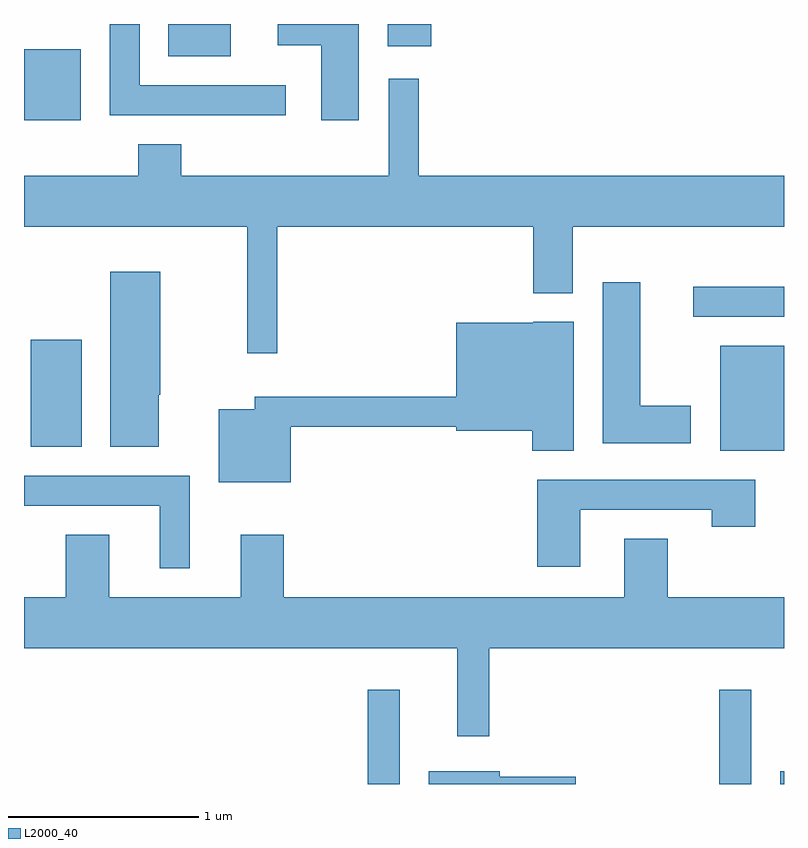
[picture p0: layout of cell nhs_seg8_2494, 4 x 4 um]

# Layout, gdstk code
import gdstk
lib = gdstk.Library(unit=1e-6, precision=1e-09)
def R(c, l, rs):  # rectangles x0, y0, x1, y1
    for r in rs: c.add(gdstk.rectangle(r[:2], r[2:], *l))
def P(c, l, *ps):  # polygons
    for p in ps: c.add(gdstk.Polygon(p, *l))
L2000_40 = (2000, 40)

nhs_seg8_2494 = lib.new_cell('nhs_seg8_2494')
R(nhs_seg8_2494, L2000_40, [(261.421,1862.342,261.589,1862.838), (263.271,1862.342,263.439,1862.838), (263.591,1862.342,263.611,1862.409), (263.276,1864.096,263.611,1864.649), (259.646,1864.116,259.914,1864.679), (263.133,1864.801,263.611,1864.959), (259.611,1865.836,259.909,1866.209), (260.371,1866.171,260.699,1866.342), (261.526,1866.226,261.754,1866.342)])
P(nhs_seg8_2494, L2000_40, [(260.988,1866.019),(260.219,1866.019),(260.219,1866.342),(260.061,1866.342),(260.061,1865.861),(260.988,1865.861)],
  [(261.374,1866.342),(260.946,1866.342),(260.946,1866.231),(261.176,1866.231),(261.176,1865.836),(261.374,1865.836)],
  [(260.944,1865.276),(262.291,1865.276),(262.291,1864.926),(262.499,1864.926),(262.499,1865.276),(263.611,1865.276),(263.611,1865.544),(261.689,1865.544),(261.689,1866.053),(261.531,1866.053),(261.531,1865.544),(260.439,1865.544),(260.439,1865.709),(260.211,1865.709),(260.211,1865.544),(259.611,1865.544),(259.611,1865.276),(260.786,1865.276),(260.786,1864.608),(260.944,1864.608)],
  [(260.319,1864.39),(260.329,1864.39),(260.329,1865.039),(260.066,1865.039),(260.066,1864.116),(260.319,1864.116)],
  [(263.119,1864.334),(262.854,1864.334),(262.854,1864.984),(262.656,1864.984),(262.656,1864.136),(263.119,1864.136)],
  [(261.014,1864.221),(261.886,1864.221),(261.886,1864.201),(262.286,1864.201),(262.286,1864.096),(262.504,1864.096),(262.504,1864.774),(262.29,1864.774),(262.29,1864.769),(261.886,1864.769),(261.886,1864.379),(260.826,1864.379),(260.826,1864.314),(260.636,1864.314),(260.636,1863.931),(261.014,1863.931)],
  [(260.484,1863.964),(259.611,1863.964),(259.611,1863.806),(260.326,1863.806),(260.326,1863.478),(260.484,1863.478)],
  [(262.539,1863.786),(263.231,1863.786),(263.231,1863.696),(263.459,1863.696),(263.459,1863.944),(262.311,1863.944),(262.311,1863.486),(262.539,1863.486)],
  [(262.059,1863.056),(263.611,1863.056),(263.611,1863.324),(262.999,1863.324),(262.999,1863.634),(262.771,1863.634),(262.771,1863.324),(260.979,1863.324),(260.979,1863.654),(260.751,1863.654),(260.751,1863.324),(260.059,1863.324),(260.059,1863.654),(259.831,1863.654),(259.831,1863.324),(259.611,1863.324),(259.611,1863.056),(261.891,1863.056),(261.891,1862.593),(262.059,1862.593)],
  [(262.514,1862.379),(262.114,1862.379),(262.114,1862.409),(261.741,1862.409),(261.741,1862.342),(262.514,1862.342)])

lib.write_gds('nhs_seg8_2494.gds')
